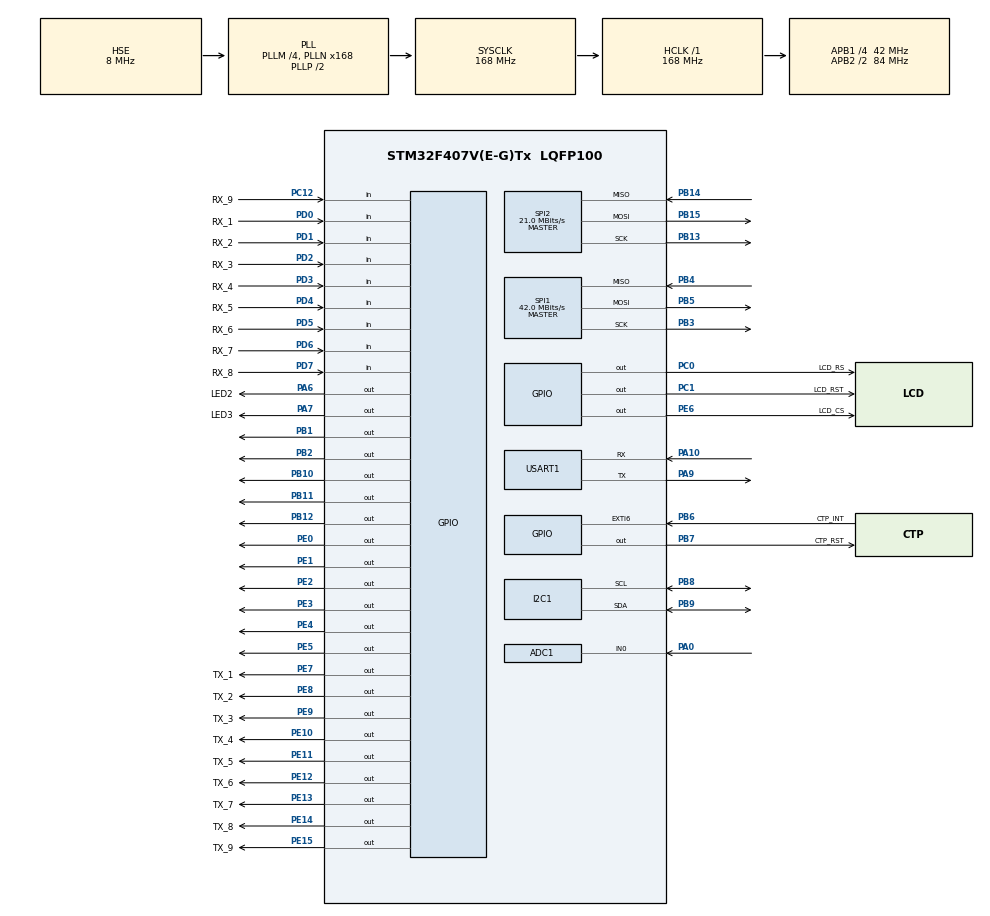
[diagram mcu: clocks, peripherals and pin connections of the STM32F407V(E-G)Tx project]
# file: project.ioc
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ADC1.Channel-0\#ChannelRegularConversion=ADC_CHANNEL_0
ADC1.ContinuousConvMode=DISABLE
ADC1.ExternalTrigConv=ADC_EXTERNALTRIGCONV_T2_TRGO
ADC1.NbrOfConversionFlag=1
ADC1.Rank-0\#ChannelRegularConversion=1
ADC1.SamplingTime-0\#ChannelRegularConversion=ADC_SAMPLETIME_3CYCLES
ADC1.master=1
Dma.ADC1.3.Direction=DMA_PERIPH_TO_MEMORY
Dma.ADC1.3.FIFOMode=DMA_FIFOMODE_DISABLE
Dma.ADC1.3.Instance=DMA2_Stream4
Dma.ADC1.3.MemDataAlignment=DMA_MDATAALIGN_HALFWORD
Dma.ADC1.3.MemInc=DMA_MINC_ENABLE
Dma.ADC1.3.Mode=DMA_NORMAL
Dma.ADC1.3.PeriphDataAlignment=DMA_PDATAALIGN_HALFWORD
Dma.ADC1.3.PeriphInc=DMA_PINC_DISABLE
Dma.ADC1.3.Priority=DMA_PRIORITY_LOW
Dma.Request0=USART1_TX
Dma.Request1=SPI1_TX
Dma.Request2=SPI1_RX
Dma.Request3=ADC1
Dma.SPI1_RX.2.Direction=DMA_PERIPH_TO_MEMORY
Dma.SPI1_RX.2.FIFOMode=DMA_FIFOMODE_DISABLE
Dma.SPI1_RX.2.Instance=DMA2_Stream0
Dma.SPI1_RX.2.MemDataAlignment=DMA_MDATAALIGN_BYTE
Dma.SPI1_RX.2.MemInc=DMA_MINC_ENABLE
Dma.SPI1_RX.2.Mode=DMA_NORMAL
Dma.SPI1_RX.2.PeriphDataAlignment=DMA_PDATAALIGN_BYTE
Dma.SPI1_RX.2.PeriphInc=DMA_PINC_DISABLE
Dma.SPI1_RX.2.Priority=DMA_PRIORITY_MEDIUM
Dma.SPI1_TX.1.Direction=DMA_MEMORY_TO_PERIPH
Dma.SPI1_TX.1.FIFOMode=DMA_FIFOMODE_DISABLE
Dma.SPI1_TX.1.Instance=DMA2_Stream3
Dma.SPI1_TX.1.MemDataAlignment=DMA_MDATAALIGN_BYTE
Dma.SPI1_TX.1.MemInc=DMA_MINC_ENABLE
Dma.SPI1_TX.1.Mode=DMA_NORMAL
Dma.SPI1_TX.1.PeriphDataAlignment=DMA_PDATAALIGN_BYTE
Dma.SPI1_TX.1.PeriphInc=DMA_PINC_DISABLE
Dma.SPI1_TX.1.Priority=DMA_PRIORITY_MEDIUM
Dma.USART1_TX.0.Direction=DMA_MEMORY_TO_PERIPH
Dma.USART1_TX.0.FIFOMode=DMA_FIFOMODE_DISABLE
Dma.USART1_TX.0.Instance=DMA2_Stream7
Dma.USART1_TX.0.MemDataAlignment=DMA_MDATAALIGN_BYTE
Dma.USART1_TX.0.MemInc=DMA_MINC_ENABLE
Dma.USART1_TX.0.Mode=DMA_NORMAL
Dma.USART1_TX.0.PeriphDataAlignment=DMA_PDATAALIGN_BYTE
Dma.USART1_TX.0.PeriphInc=DMA_PINC_DISABLE
Dma.USART1_TX.0.Priority=DMA_PRIORITY_MEDIUM
FREERTOS.Mutexes01=lvgl_mutex,Dynamic,NULL,Available
FREERTOS.Tasks01=defaultTask,0,128,StartDefaultTask,Default,NULL,Dynamic,NULL,NULL;LVGL_TaskHandle,0,2304,LVGL_TaskHandler_Task,Default,NULL,Dynamic,NULL,NULL;LCD_ScanTask,1,128,LCD_Scan_Task,Default,NULL,Dynamic,NULL,NULL;CHANGE_LVGL,2,1024,CHANGE_LVGL_TASK,Default,NULL,Dynamic,NULL,NULL
FREERTOS.configENABLE_FPU=1
FREERTOS.configUSE_NEWLIB_REENTRANT=0
Mcu.Family=STM32F4
Mcu.Name=STM32F407V(E-G)Tx
Mcu.Package=LQFP100
NVIC.DMA2_Stream0_IRQn=true\:5\:0\:true\:false\:true\:true\:false\:true\:true
NVIC.DMA2_Stream3_IRQn=true\:5\:0\:true\:false\:true\:true\:false\:true\:true
NVIC.DMA2_Stream4_IRQn=true\:5\:0\:false\:false\:true\:true\:false\:true\:true
NVIC.DMA2_Stream7_IRQn=true\:5\:0\:true\:false\:true\:true\:false\:true\:true
NVIC.EXTI9_5_IRQn=true\:5\:0\:true\:false\:true\:true\:true\:true\:true
NVIC.PriorityGroup=NVIC_PRIORITYGROUP_4
NVIC.SPI1_IRQn=true\:3\:0\:true\:false\:true\:false\:true\:true\:true
NVIC.TIM1_BRK_TIM9_IRQn=true\:15\:0\:false\:false\:true\:false\:false\:true\:true
NVIC.TIM2_IRQn=true\:5\:0\:false\:false\:true\:true\:true\:true\:true
NVIC.TIM3_IRQn=true\:5\:0\:true\:false\:true\:true\:true\:true\:true
NVIC.TimeBase=TIM1_BRK_TIM9_IRQn
NVIC.TimeBaseIP=TIM9
NVIC.USART1_IRQn=true\:6\:0\:true\:false\:true\:true\:false\:true\:true
PA0-WKUP.Signal=ADCx_IN0
PA10.Mode=Asynchronous
PA10.Signal=USART1_RX
PA13.Mode=Serial_Wire
PA13.Signal=SYS_JTMS-SWDIO
PA14.Mode=Serial_Wire
PA14.Signal=SYS_JTCK-SWCLK
PA6.GPIO_Label=LED2
PA6.GPIO_Speed=GPIO_SPEED_FREQ_HIGH
PA6.PinState=GPIO_PIN_SET
PA6.Signal=GPIO_Output
PA7.GPIO_Label=LED3
PA7.GPIO_Speed=GPIO_SPEED_FREQ_HIGH
PA7.PinState=GPIO_PIN_SET
PA7.Signal=GPIO_Output
PA9.Mode=Asynchronous
PA9.Signal=USART1_TX
PB1.Signal=GPIO_Output
PB10.Signal=GPIO_Output
PB11.Signal=GPIO_Output
PB12.Signal=GPIO_Output
PB13.Mode=Full_Duplex_Master
PB13.Signal=SPI2_SCK
PB14.Mode=Full_Duplex_Master
PB14.Signal=SPI2_MISO
PB15.Mode=Full_Duplex_Master
PB15.Signal=SPI2_MOSI
PB2.Signal=GPIO_Output
PB3.GPIO_PuPd=GPIO_PULLUP
PB3.Mode=Full_Duplex_Master
PB3.Signal=SPI1_SCK
PB4.GPIO_PuPd=GPIO_PULLUP
PB4.Mode=Full_Duplex_Master
PB4.Signal=SPI1_MISO
PB5.GPIO_PuPd=GPIO_PULLUP
PB5.Mode=Full_Duplex_Master
PB5.Signal=SPI1_MOSI
PB6.GPIO_Label=CTP_INT
PB6.GPIO_ModeDefaultEXTI=GPIO_MODE_IT_FALLING
PB6.GPIO_PuPd=GPIO_PULLUP
PB6.Signal=GPXTI6
PB7.GPIO_Label=CTP_RST
PB7.GPIO_Speed=GPIO_SPEED_FREQ_VERY_HIGH
PB7.PinState=GPIO_PIN_SET
PB7.Signal=GPIO_Output
PB8.GPIO_Pu=GPIO_PULLUP
PB8.Mode=I2C
PB8.Signal=I2C1_SCL
PB9.GPIO_Pu=GPIO_PULLUP
PB9.Mode=I2C
PB9.Signal=I2C1_SDA
PC0.GPIO_Label=LCD_RS
PC0.GPIO_ModeDefaultOutputPP=GPIO_MODE_OUTPUT_PP
PC0.GPIO_Speed=GPIO_SPEED_FREQ_VERY_HIGH
PC0.PinState=GPIO_PIN_SET
PC0.Signal=GPIO_Output
PC1.GPIO_Label=LCD_RST
PC1.GPIO_Speed=GPIO_SPEED_FREQ_VERY_HIGH
PC1.PinState=GPIO_PIN_SET
PC1.Signal=GPIO_Output
PC12.GPIO_Label=RX_9
PC12.GPIO_PuPd=GPIO_PULLDOWN
PC12.Signal=GPIO_Input
PC14-OSC32_IN.Mode=LSE-External-Oscillator
PC14-OSC32_IN.Signal=RCC_OSC32_IN
PC15-OSC32_OUT.Mode=LSE-External-Oscillator
PC15-OSC32_OUT.Signal=RCC_OSC32_OUT
PD0.GPIO_Label=RX_1
PD0.GPIO_PuPd=GPIO_PULLDOWN
PD0.Signal=GPIO_Input
PD1.GPIO_Label=RX_2
PD1.GPIO_PuPd=GPIO_PULLDOWN
PD1.Signal=GPIO_Input
PD2.GPIO_Label=RX_3
PD2.GPIO_PuPd=GPIO_PULLDOWN
PD2.Signal=GPIO_Input
PD3.GPIO_Label=RX_4
PD3.GPIO_PuPd=GPIO_PULLDOWN
PD3.Signal=GPIO_Input
PD4.GPIO_Label=RX_5
PD4.GPIO_PuPd=GPIO_PULLDOWN
PD4.Signal=GPIO_Input
PD5.GPIO_Label=RX_6
PD5.GPIO_PuPd=GPIO_PULLDOWN
PD5.Signal=GPIO_Input
PD6.GPIO_Label=RX_7
PD6.GPIO_PuPd=GPIO_PULLDOWN
PD6.Signal=GPIO_Input
PD7.GPIO_Label=RX_8
PD7.GPIO_PuPd=GPIO_PULLDOWN
PD7.Signal=GPIO_Input
PE0.Signal=GPIO_Output
PE1.Signal=GPIO_Output
PE10.GPIO_Label=TX_4
PE10.GPIO_PuPd=GPIO_PULLDOWN
PE10.Signal=GPIO_Output
PE11.GPIO_Label=TX_5
PE11.GPIO_PuPd=GPIO_PULLDOWN
PE11.Signal=GPIO_Output
PE12.GPIO_Label=TX_6
PE12.GPIO_PuPd=GPIO_PULLDOWN
PE12.Signal=GPIO_Output
PE13.GPIO_Label=TX_7
PE13.GPIO_PuPd=GPIO_PULLDOWN
PE13.Signal=GPIO_Output
PE14.GPIO_Label=TX_8
PE14.GPIO_PuPd=GPIO_PULLDOWN
PE14.Signal=GPIO_Output
PE15.GPIO_Label=TX_9
PE15.GPIO_PuPd=GPIO_PULLDOWN
PE15.Signal=GPIO_Output
PE2.Signal=GPIO_Output
PE3.Signal=GPIO_Output
PE4.Signal=GPIO_Output
PE5.Signal=GPIO_Output
PE6.GPIO_Label=LCD_CS
PE6.GPIO_ModeDefaultOutputPP=GPIO_MODE_OUTPUT_PP
PE6.GPIO_PuPd=GPIO_NOPULL
PE6.GPIO_Speed=GPIO_SPEED_FREQ_VERY_HIGH
PE6.PinState=GPIO_PIN_SET
PE6.Signal=GPIO_Output
PE7.GPIO_Label=TX_1
PE7.GPIO_PuPd=GPIO_PULLDOWN
PE7.Signal=GPIO_Output
PE8.GPIO_Label=TX_2
PE8.GPIO_PuPd=GPIO_PULLDOWN
PE8.Signal=GPIO_Output
PE9.GPIO_Label=TX_3
PE9.GPIO_PuPd=GPIO_PULLDOWN
PE9.Signal=GPIO_Output
PH0-OSC_IN.Mode=HSE-External-Oscillator
PH0-OSC_IN.Signal=RCC_OSC_IN
PH1-OSC_OUT.Mode=HSE-External-Oscillator
PH1-OSC_OUT.Signal=RCC_OSC_OUT
ProjectManager.HeapSize=0x3500
ProjectManager.StackSize=0x1000
ProjectManager.TargetToolchain=MDK-ARM V5.32
RCC.48MHZClocksFreq_Value=84000000
RCC.AHBFreq_Value=168000000
RCC.APB1CLKDivider=RCC_HCLK_DIV4
RCC.APB1Freq_Value=42000000
RCC.APB1TimFreq_Value=84000000
RCC.APB2CLKDivider=RCC_HCLK_DIV2
RCC.APB2Freq_Value=84000000
RCC.APB2TimFreq_Value=168000000
RCC.CortexFreq_Value=168000000
RCC.HCLKFreq_Value=168000000
RCC.HSE_VALUE=8000000
RCC.HSI_VALUE=16000000
RCC.PLLM=4
RCC.PLLN=168
RCC.PLLSourceVirtual=RCC_PLLSOURCE_HSE
RCC.SYSCLKFreq_VALUE=168000000
RCC.SYSCLKSource=RCC_SYSCLKSOURCE_PLLCLK
RCC.VCOOutputFreq_Value=336000000
SH.ADCx_IN0.0=ADC1_IN0,IN0
SPI1.BaudRatePrescaler=SPI_BAUDRATEPRESCALER_2
SPI1.CLKPhase=SPI_PHASE_2EDGE
SPI1.CLKPolarity=SPI_POLARITY_HIGH
SPI1.CalculateBaudRate=42.0 MBits/s
SPI1.Direction=SPI_DIRECTION_2LINES
SPI1.Mode=SPI_MODE_MASTER
SPI1.VirtualType=VM_MASTER
SPI2.CalculateBaudRate=21.0 MBits/s
SPI2.Direction=SPI_DIRECTION_2LINES
SPI2.Mode=SPI_MODE_MASTER
SPI2.VirtualType=VM_MASTER
TIM2.AutoReloadPreload=TIM_AUTORELOAD_PRELOAD_ENABLE
TIM2.Period=100-1
TIM2.Prescaler=168-1
TIM2.TIM_MasterOutputTrigger=TIM_TRGO_UPDATE
TIM3.AutoReloadPreload=TIM_AUTORELOAD_PRELOAD_ENABLE
TIM3.Period=1000-1
TIM3.Prescaler=168-1
USART1.VirtualMode=VM_ASYNC
VP_CRC_VS_CRC.Mode=CRC_Activate
VP_FREERTOS_VS_CMSIS_V1.Mode=CMSIS_V1
VP_SYS_VS_tim9.Mode=TIM9
VP_TIM2_VS_ClockSourceINT.Mode=Internal
VP_TIM3_VS_ClockSourceINT.Mode=Internal
board=custom

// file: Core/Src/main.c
/* USER CODE BEGIN Header */
/*
 ******************************************************************************
 *    硬件连线
 *    LCD            		F4
 * ----------------------------------------------------------------------------
 *    GND       ->      GND
 *    VCC       ->      5V
 *    LCD_CS    ->      PE6
 *    LCD_RST   ->      PC1
 *    LCD_RS    ->      PC0
 *    SDI(MOSI) ->      PB5
 *    SCK       ->      PB3
 *    LED       ->      3.3V
 *    SDO(MISO) ->      PB4
 *    CTP_SCL   ->      PB8
 *    CTP_RST   ->      PB7
 *    CTP_SDA   ->      PB9
 *    CTP_INT   ->      PB6
 ******************************************************************************
 */
/* USER CODE END Header */
#include "main.h"
#include "cmsis_os.h"
#include "adc.h"
#include "crc.h"
#include "dma.h"
#include "i2c.h"
#include "spi.h"
#include "tim.h"
#include "usart.h"
#include "gpio.h"

/* USER CODE BEGIN Includes */
#include <stdio.h>
#include "LCD.h"
#include "lvgl.h"
#include "lv_port_disp.h"
#include "lv_port_indev.h"
#include "lv_demos.h"
#include "touch.h"
#include "FT6336.h"
#include "my_fun.h"
#include "my_board.h"
#include "my_lvgl.h"
#include "../generated/gui_guider.h"
#include "../generated/events_init.h"
#include "custom.h"
#include "extern_flash.h"
/* USER CODE END Includes */

void SystemClock_Config(void);
void MX_FREERTOS_Init(void);

int main(void)
{

  /* MCU Configuration--------------------------------------------------------*/

  /* Reset of all peripherals, Initializes the Flash interface and the Systick. */
  HAL_Init();

  /* Configure the system clock */
  SystemClock_Config();

  /* Initialize all configured peripherals */
  MX_GPIO_Init();
  MX_DMA_Init();
  MX_USART1_UART_Init();
  MX_I2C1_Init();
  MX_TIM3_Init();
  MX_CRC_Init();
  MX_SPI1_Init();
  MX_ADC1_Init();
  MX_TIM2_Init();
  MX_SPI2_Init();
  /* USER CODE BEGIN 2 */

	//初始化
	init_board();

  /* USER CODE END 2 */

  /* Call init function for freertos objects (in cmsis_os2.c) */
  MX_FREERTOS_Init();

  /* Start scheduler */
  osKernelStart();

  /* We should never get here as control is now taken by the scheduler */

  /* Infinite loop */
  /* USER CODE BEGIN WHILE */

  //while (1)
  //{
    /* USER CODE END WHILE */

    /* USER CODE BEGIN 3 */
  //}
  /* USER CODE END 3 */
}

void SystemClock_Config(void)
{
  RCC_OscInitTypeDef RCC_OscInitStruct = {0};
  RCC_ClkInitTypeDef RCC_ClkInitStruct = {0};

  /** Configure the main internal regulator output voltage
  */
  __HAL_RCC_PWR_CLK_ENABLE();
  __HAL_PWR_VOLTAGESCALING_CONFIG(PWR_REGULATOR_VOLTAGE_SCALE1);

  /** Initializes the RCC Oscillators according to the specified parameters
  * in the RCC_OscInitTypeDef structure.
  */
  RCC_OscInitStruct.OscillatorType = RCC_OSCILLATORTYPE_HSE;
  RCC_OscInitStruct.HSEState = RCC_HSE_ON;
  RCC_OscInitStruct.PLL.PLLState = RCC_PLL_ON;
  RCC_OscInitStruct.PLL.PLLSource = RCC_PLLSOURCE_HSE;
  RCC_OscInitStruct.PLL.PLLM = 4;
  RCC_OscInitStruct.PLL.PLLN = 168;
  RCC_OscInitStruct.PLL.PLLP = RCC_PLLP_DIV2;
  RCC_OscInitStruct.PLL.PLLQ = 4;
  if (HAL_RCC_OscConfig(&RCC_OscInitStruct) != HAL_OK)
  {
    Error_Handler();
  }

  /** Initializes the CPU, AHB and APB buses clocks
  */
  RCC_ClkInitStruct.ClockType = RCC_CLOCKTYPE_HCLK|RCC_CLOCKTYPE_SYSCLK
                              |RCC_CLOCKTYPE_PCLK1|RCC_CLOCKTYPE_PCLK2;
  RCC_ClkInitStruct.SYSCLKSource = RCC_SYSCLKSOURCE_PLLCLK;
  RCC_ClkInitStruct.AHBCLKDivider = RCC_SYSCLK_DIV1;
  RCC_ClkInitStruct.APB1CLKDivider = RCC_HCLK_DIV4;
  RCC_ClkInitStruct.APB2CLKDivider = RCC_HCLK_DIV2;

  if (HAL_RCC_ClockConfig(&RCC_ClkInitStruct, FLASH_LATENCY_5) != HAL_OK)
  {
    Error_Handler();
  }
}

void HAL_TIM_PeriodElapsedCallback(TIM_HandleTypeDef *htim)
{
  /* USER CODE BEGIN Callback 0 */
	if (htim->Instance == TIM2)
	{
		int test = 1;
		test++;
	}
  /* USER CODE END Callback 0 */
  if (htim->Instance == TIM9) {
    HAL_IncTick();
  }
  /* USER CODE BEGIN Callback 1 */

	if (htim->Instance == TIM3) //定时器3  1ms
	{
			//lv_tick_inc(1); // LVGL tick
	}

  /* USER CODE END Callback 1 */
}

void Error_Handler(void)
{
  __disable_irq();
  while (1)
  {
  }
}

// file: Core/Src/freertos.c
/* USER CODE BEGIN Header */

/* USER CODE END Header */

#include "FreeRTOS.h"
#include "task.h"
#include "main.h"
#include "cmsis_os.h"

/* USER CODE BEGIN Includes */
#include "my_fun.h"
#include "my_lvgl.h"
#include "my_board.h"
#include "usart.h"
#include "gpio.h"
#include "adc.h"
#include "LCD.h"
#include "touch.h"
#include "lvgl.h"
#include "lv_port_disp.h"
#include "lv_port_indev.h"
#include "lv_demos.h"
/* USER CODE END Includes */

/* USER CODE BEGIN PTD */
extern uint16_t adc_buffer[];
extern uint8_t start_mode;
/* USER CODE END PTD */

/* USER CODE BEGIN Variables */
osSemaphoreId SPI1_Send_OK; // 定义信号量，用于SPI1发完成标志位
uint8_t CTP_INT_Flag;       // 触摸屏中断标志位
/* USER CODE END Variables */
osThreadId defaultTaskHandle;
osThreadId LVGL_TaskHandleHandle;
osThreadId LCD_ScanTaskHandle;
osThreadId CHANGE_LVGLHandle;
osMutexId lvgl_mutexHandle;

void StartDefaultTask(void const * argument);
void LVGL_TaskHandler_Task(void const * argument);
void LCD_Scan_Task(void const * argument);
void CHANGE_LVGL_TASK(void const * argument);

void MX_FREERTOS_Init(void); /* (MISRA C 2004 rule 8.1) */

/* GetIdleTaskMemory prototype (linked to static allocation support) */
void vApplicationGetIdleTaskMemory( StaticTask_t **ppxIdleTaskTCBBuffer, StackType_t **ppxIdleTaskStackBuffer, uint32_t *pulIdleTaskStackSize );

/* USER CODE BEGIN GET_IDLE_TASK_MEMORY */
static StaticTask_t xIdleTaskTCBBuffer;
static StackType_t xIdleStack[configMINIMAL_STACK_SIZE];

void vApplicationGetIdleTaskMemory(StaticTask_t **ppxIdleTaskTCBBuffer, StackType_t **ppxIdleTaskStackBuffer, uint32_t *pulIdleTaskStackSize)
{
  *ppxIdleTaskTCBBuffer = &xIdleTaskTCBBuffer;
  *ppxIdleTaskStackBuffer = &xIdleStack[0];
  *pulIdleTaskStackSize = configMINIMAL_STACK_SIZE;
  /* place for user code */
}
/* USER CODE END GET_IDLE_TASK_MEMORY */

void MX_FREERTOS_Init(void) {
  /* Create the mutex(es) */
  /* definition and creation of lvgl_mutex */
  osMutexDef(lvgl_mutex);
  lvgl_mutexHandle = osMutexCreate(osMutex(lvgl_mutex));

  /* USER CODE BEGIN RTOS_SEMAPHORES */
  /* add semaphores, ... */
  osSemaphoreDef(SPI1_Send_OK);                                   // 定义名为SPI1_Send_OK的信号量
  SPI1_Send_OK = osSemaphoreCreate(osSemaphore(SPI1_Send_OK), 1); // 创建名为SPI1_Send_OK的信号量实例，并初始化为1

  /* USER CODE END RTOS_SEMAPHORES */

  /* Create the thread(s) */
  /* definition and creation of defaultTask */
  osThreadDef(defaultTask, StartDefaultTask, osPriorityNormal, 0, 128);
  defaultTaskHandle = osThreadCreate(osThread(defaultTask), NULL);

  /* definition and creation of LVGL_TaskHandle */
  osThreadDef(LVGL_TaskHandle, LVGL_TaskHandler_Task, osPriorityNormal, 0, 2304);
  LVGL_TaskHandleHandle = osThreadCreate(osThread(LVGL_TaskHandle), NULL);

  /* definition and creation of LCD_ScanTask */
  osThreadDef(LCD_ScanTask, LCD_Scan_Task, osPriorityAboveNormal, 0, 128);
  LCD_ScanTaskHandle = osThreadCreate(osThread(LCD_ScanTask), NULL);

  /* definition and creation of CHANGE_LVGL */
  osThreadDef(CHANGE_LVGL, CHANGE_LVGL_TASK, osPriorityHigh, 0, 1024);
  CHANGE_LVGLHandle = osThreadCreate(osThread(CHANGE_LVGL), NULL);

}

void StartDefaultTask(void const * argument)
{
  /* USER CODE BEGIN StartDefaultTask */
  USART1_Printf("%d : Run StartDefaultTask\r\n", osKernelSysTick());
  /* Infinite loop */
  for (;;)
  {
    osDelay(100);
  }
  /* USER CODE END StartDefaultTask */
}

void LVGL_TaskHandler_Task(void const * argument)
{
  /* USER CODE BEGIN LVGL_TaskHandler_Task */

	//LVGL初始
	init_lvgl();

  /* Infinite loop */
  for (;;)
  {
		//添加互斥
		if (osMutexWait(lvgl_mutexHandle, osWaitForever) == osOK)
    {
      lv_task_handler();
      osMutexRelease(lvgl_mutexHandle);
    }
    osDelay(5);        // 延时5ms
  }
  /* USER CODE END LVGL_TaskHandler_Task */
}

void LCD_Scan_Task(void const * argument)
{
  /* USER CODE BEGIN LCD_Scan_Task */
	lv_port_indev_init(); // LVGL输入设备初始
  USART1_Printf("%d : lv_port_indev_init() Finish\r\n", osKernelSysTick());
  /* Infinite loop */
  for(;;)
  {
		if (CTP_INT_Flag == 1)
    {
      tp_dev.scan(); // 扫描触摸
      CTP_INT_Flag = 0;
    }
    osDelay(10);
  }
  /* USER CODE END LCD_Scan_Task */
}

void CHANGE_LVGL_TASK(void const * argument)
{
  /* USER CODE BEGIN CHANGE_LVGL_TASK */
  /* Infinite loop */
  for(;;)
  {
		//添加互斥
		if (osMutexWait(lvgl_mutexHandle, osWaitForever) == osOK)
    {
				if(start_mode == 1)
				{
					change_label_mode_one();
				}
				if(start_mode == 2)
				{
					change_label_mode_two();
				}
        osMutexRelease(lvgl_mutexHandle);
    }
    osDelay(500);
  }
  /* USER CODE END CHANGE_LVGL_TASK */
}
